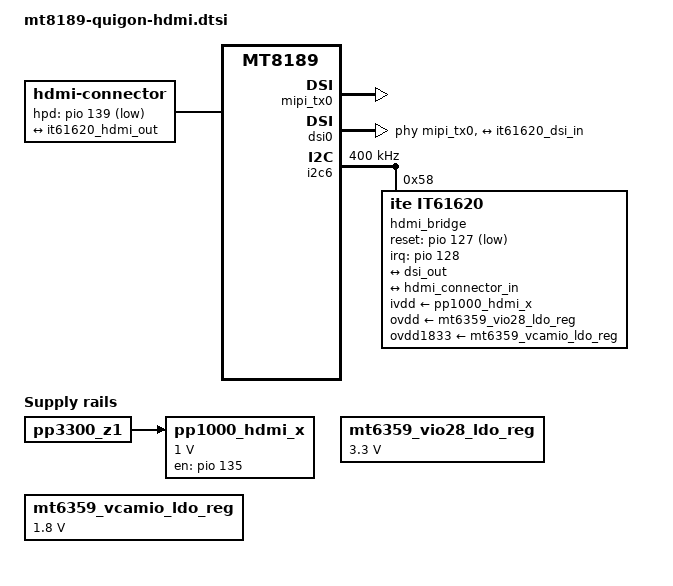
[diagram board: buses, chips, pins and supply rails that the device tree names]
// SPDX-License-Identifier: (GPL-2.0 OR MIT)
/*
 * HDMI port for quigon: the second display pipe OVL1 -> RDMA1 -> (mmsys crossbar) -> DSI0 -> ITE IT61620 (DSI to
 * HDMI bridge, I2C6 0x58) -> HDMI type A connector. The same CRTC can drive DVO1 -> DP TX (USB-C) instead; the DRM
 * driver picks the route by the connector in use. Nodes and board wiring from ChromeOS's mt8189.dtsi and
 * mt8189-skywalker.dtsi. Include after mt8189-quigon-display.dtsi and mt8189-quigon-input.dtsi (pp3300_z1).
 */
#include <dt-bindings/gpio/gpio.h>
#include <dt-bindings/interrupt-controller/irq.h>

/ {
	aliases {
		ovl1 = &disp_ovl1;
		rdma1 = &disp_rdma1;
		dsi0 = &dsi0;
	};

	/* IT61620 core supply (1.0 V), GPIO 135 */
	pp1000_hdmi_x: regulator-pp1000-hdmi-x {
		compatible = "regulator-fixed";
		regulator-name = "pp1000_hdmi_x";
		regulator-min-microvolt = <1000000>;
		regulator-max-microvolt = <1000000>;
		enable-active-high;
		regulator-enable-ramp-delay = <2000>;
		gpio = <&pio 135 GPIO_ACTIVE_HIGH>;
		pinctrl-names = "default";
		pinctrl-0 = <&hdmi_pwr_pins>;
		vin-supply = <&pp3300_z1>;
	};

	hdmi-connector {
		compatible = "hdmi-connector";
		label = "hdmi";
		type = "a";
		pinctrl-names = "default";
		pinctrl-0 = <&hdmi_hpd_pins>;
		hpd-gpios = <&pio 139 GPIO_ACTIVE_LOW>;

		port {
			hdmi_connector_in: endpoint {
				remote-endpoint = <&it61620_hdmi_out>;
			};
		};
	};

	soc {
		mipi_tx0: dsi-phy@11b40000 {
			compatible = "mediatek,mt8189-mipi-tx";
			reg = <0 0x11b40000 0 0x1000>;
			clocks = <&clk26m>;
			#clock-cells = <0>;
			#phy-cells = <0>;
			clock-output-names = "mipi_tx0_pll";
		};

		disp_ovl1: ovl@14003000 {
			compatible = "mediatek,mt8189-disp-ovl";
			reg = <0 0x14003000 0 0x1000>;
			interrupts = <GIC_SPI 304 IRQ_TYPE_LEVEL_HIGH 0>;
			power-domains = <&spm MT8189_POWER_DOMAIN_DISP>;
			clocks = <&mmsys CLK_MM_DISP_OVL1_4L>;
		};

		disp_rdma1: rdma@14007000 {
			compatible = "mediatek,mt8189-disp-rdma";
			reg = <0 0x14007000 0 0x1000>;
			interrupts = <GIC_SPI 309 IRQ_TYPE_LEVEL_HIGH 0>;
			power-domains = <&spm MT8189_POWER_DOMAIN_DISP>;
			clocks = <&mmsys CLK_MM_DISP_RDMA1>;
		};

		dsi0: dsi@14016000 {
			compatible = "mediatek,mt8189-dsi";
			reg = <0 0x14016000 0 0x1000>;
			interrupts = <GIC_SPI 326 IRQ_TYPE_LEVEL_HIGH 0>;
			power-domains = <&spm MT8189_POWER_DOMAIN_DISP>;
			clocks = <&mmsys CLK_MMSYS_0_DISP_DSI0>,
				 <&mmsys CLK_MMSYS_1_DISP_DSI0>,
				 <&mipi_tx0>;
			clock-names = "engine", "digital", "hs";
			phys = <&mipi_tx0>;
			phy-names = "dphy";
			/* skywalker: longer HS-zero for the IT61620's receiver */
			mediatek,phy-timing-da-hs-zero = <6>;

			port {
				dsi_out: endpoint {
					remote-endpoint = <&it61620_dsi_in>;
				};
			};
		};
	};
};

&i2c6 {
	clock-frequency = <400000>;
	pinctrl-names = "default";
	pinctrl-0 = <&i2c6_pins>;
	status = "okay";

	hdmi_bridge: hdmi-bridge@58 {
		compatible = "ite,it61620";
		reg = <0x58>;
		#sound-dai-cells = <0>;
		interrupts-extended = <&pio 128 IRQ_TYPE_LEVEL_LOW>;
		pinctrl-names = "default";
		pinctrl-0 = <&it61620_pins>;
		reset-gpios = <&pio 127 GPIO_ACTIVE_LOW>;
		ivdd-supply = <&pp1000_hdmi_x>;
		ovdd-supply = <&mt6359_vio28_ldo_reg>;
		ovdd1833-supply = <&mt6359_vcamio_ldo_reg>;
		dsi-lanes = <4>;

		ports {
			#address-cells = <1>;
			#size-cells = <0>;

			port@0 {
				reg = <0>;
				it61620_dsi_in: endpoint {
					remote-endpoint = <&dsi_out>;
				};
			};

			port@1 {
				reg = <1>;
				it61620_hdmi_out: endpoint {
					remote-endpoint = <&hdmi_connector_in>;
				};
			};
		};
	};
};

/* the bridge's I/O rails: VIO28 runs at 3.3 V on this board (pp3300_vio28_x), VCAMIO 1.8 V */
&mt6359_vio28_ldo_reg {
	regulator-min-microvolt = <3300000>;
	regulator-max-microvolt = <3300000>;
};

&mt6359_vcamio_ldo_reg {
	regulator-min-microvolt = <1800000>;
	regulator-max-microvolt = <1800000>;
};

&pio {
	i2c6_pins: i2c6-pins {
		pins-bus {
			pinmux = <PINMUX_GPIO63__FUNC_SCL6>,
				 <PINMUX_GPIO64__FUNC_SDA6>;
			bias-disable;
		};
	};

	hdmi_pwr_pins: hdmi-pwr-pins {
		pins-pwr {
			pinmux = <PINMUX_GPIO135__FUNC_GPIO135>;
			output-low;
		};
	};

	hdmi_hpd_pins: hdmi-hpd-pins {
		pins-hpd {
			pinmux = <PINMUX_GPIO139__FUNC_GPIO139>;
			input-enable;
			bias-pull-up;
		};
	};

	it61620_pins: it61620-pins {
		pins-int {
			pinmux = <PINMUX_GPIO128__FUNC_GPIO128>;
			input-enable;
			bias-disable;
		};

		pins-reset {
			pinmux = <PINMUX_GPIO127__FUNC_GPIO127>;
			output-low;
			bias-pull-up;
		};
	};
};
